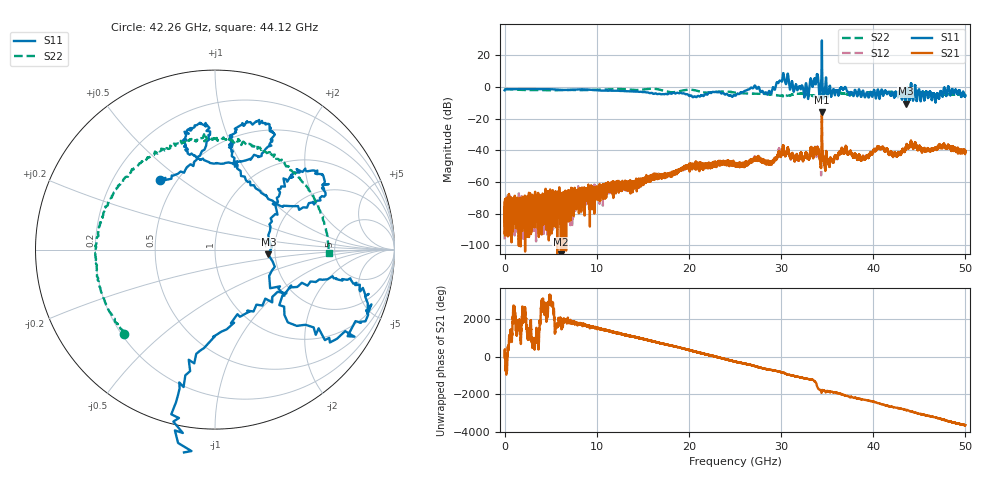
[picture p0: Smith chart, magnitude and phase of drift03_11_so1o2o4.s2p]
!Created with skrf (http://scikit-rf.org).
# Hz S RI R 50.0
!freq ReS11 ImS11 ReS21 ImS21 ReS12 ImS12 ReS22 ImS22
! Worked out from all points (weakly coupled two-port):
!   10000 points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, 5.3 MHz to 50 GHz, reference 50 ohm
!   highest |S21| = -15.73 dB at 34.43 GHz (marker M1); lowest = -108.5 dB at 6.115 GHz (marker M2)
!   lowest |S11| = -10.5 dB at 43.53 GHz (marker M3), VSWR 1.85, Z = 92.1 - j5.08 ohm
!   |S11| at or under -10 dB: 43.50734 GHz to 43.52425 GHz (16.9 MHz wide, 0.0388 % of centre); 43.52548 GHz to 43.53595 GHz (10.47 MHz wide, 0.0241 % of centre)
!   |S22| runs from -5.8 to -1.1 dB; largest |S21 - S12| = 0.058
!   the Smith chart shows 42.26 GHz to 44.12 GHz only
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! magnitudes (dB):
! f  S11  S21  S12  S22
! 5.3 MHz  -2.1  -76.0  -96.4  -1.3
! 6.115 GHz  -1.9  -108.5  -71.5  -2.0
! 8.34 GHz  -1.5  -64.1  -69.6  -2.1
! 16.67 GHz  -4.4  -57.6  -55.8  -1.5
! 20.07 GHz  -5.7  -49.3  -49.6  -1.7
! 25.01 GHz  -5.5  -49.0  -48.4  -3.5
! 27.02 GHz  -0.4  -45.6  -46.2  -4.3
! 28.72 GHz  -2.5  -48.2  -47.5  -4.5
! 30.14 GHz  4.3  -40.1  -40.4  -5.7
! 32.74 GHz  2.0  -43.3  -42.2  -4.6
! 33.34 GHz  2.4  -39.9  -39.9  -5.6
! 33.82 GHz  3.9  -41.5  -42.0  -5.7
! 34.43 GHz  29.4  -15.7  -18.4  -4.6
! 35.27 GHz  0.2  -50.2  -48.0  -3.4
! 36.83 GHz  -1.0  -42.0  -42.0  -4.1
! 38.85 GHz  -2.8  -44.5  -44.3  -3.2
! 40.59 GHz  -3.9  -37.5  -38.6  -4.1
! 41.67 GHz  -3.3  -42.3  -42.5  -3.3
! 42.74 GHz  -5.8  -41.2  -41.1  -3.7
! 43.53 GHz  -10.5  -38.2  -38.2  -4.2
! 48.32 GHz  -4.5  -38.5  -38.3  -4.6
! 50 GHz  -5.4  -40.5  -40.3  -4.6
